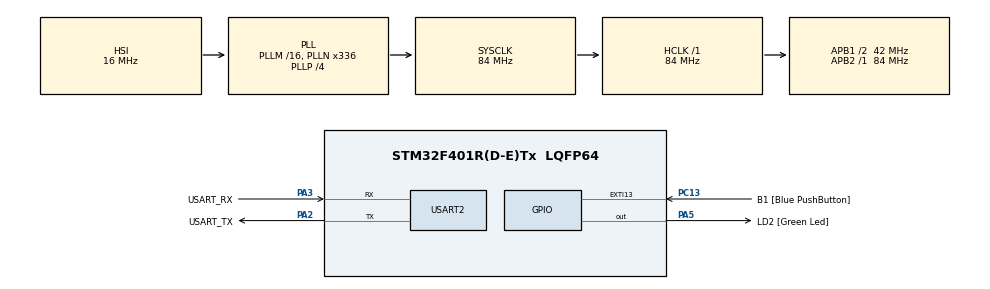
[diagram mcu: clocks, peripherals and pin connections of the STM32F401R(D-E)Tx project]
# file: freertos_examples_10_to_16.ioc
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FREERTOS.INCLUDE_vTaskDelayUntil=1
FREERTOS.MEMORY_ALLOCATION=0
FREERTOS.Tasks01=defaultTask,0,128,StartDefaultTask,Default,NULL,Dynamic,NULL,NULL
FREERTOS.configCHECK_FOR_STACK_OVERFLOW=1
FREERTOS.configGENERATE_RUN_TIME_STATS=1
FREERTOS.configUSE_COUNTING_SEMAPHORES=1
FREERTOS.configUSE_IDLE_HOOK=1
FREERTOS.configUSE_NEWLIB_REENTRANT=1
FREERTOS.configUSE_STATS_FORMATTING_FUNCTIONS=1
FREERTOS.configUSE_TICK_HOOK=1
FREERTOS.configUSE_TRACE_FACILITY=1
Mcu.Family=STM32F4
Mcu.Name=STM32F401R(D-E)Tx
Mcu.Package=LQFP64
NVIC.PriorityGroup=NVIC_PRIORITYGROUP_4
NVIC.TIM1_UP_TIM10_IRQn=true\:15\:0\:false\:false\:true\:false\:false\:true\:true
NVIC.TIM3_IRQn=true\:5\:0\:false\:false\:true\:true\:true\:true\:true
NVIC.TimeBase=TIM1_UP_TIM10_IRQn
NVIC.TimeBaseIP=TIM1
PA13.GPIO_Label=TMS
PA13.Mode=Serial_Wire
PA13.Signal=SYS_JTMS-SWDIO
PA14.GPIO_Label=TCK
PA14.Mode=Serial_Wire
PA14.Signal=SYS_JTCK-SWCLK
PA2.GPIO_Label=USART_TX
PA2.GPIO_Mode=GPIO_MODE_AF_PP
PA2.GPIO_PuPd=GPIO_NOPULL
PA2.GPIO_Speed=GPIO_SPEED_FREQ_LOW
PA2.Mode=Asynchronous
PA2.Signal=USART2_TX
PA3.GPIO_Label=USART_RX
PA3.GPIO_Mode=GPIO_MODE_AF_PP
PA3.GPIO_PuPd=GPIO_NOPULL
PA3.GPIO_Speed=GPIO_SPEED_FREQ_LOW
PA3.Mode=Asynchronous
PA3.Signal=USART2_RX
PA5.GPIO_Label=LD2 [Green Led]
PA5.GPIO_Mode=GPIO_MODE_OUTPUT_PP
PA5.GPIO_PuPd=GPIO_NOPULL
PA5.GPIO_Speed=GPIO_SPEED_FREQ_LOW
PA5.Signal=GPIO_Output
PB3.GPIO_Label=SWO
PB3.Signal=SYS_JTDO-SWO
PC13-ANTI_TAMP.GPIO_Label=B1 [Blue PushButton]
PC13-ANTI_TAMP.GPIO_ModeDefaultEXTI=GPIO_MODE_IT_FALLING
PC13-ANTI_TAMP.GPIO_PuPd=GPIO_NOPULL
PC13-ANTI_TAMP.Signal=GPXTI13
PC14-OSC32_IN.Mode=LSE-External-Oscillator
PC14-OSC32_IN.Signal=RCC_OSC32_IN
PC15-OSC32_OUT.Mode=LSE-External-Oscillator
PC15-OSC32_OUT.Signal=RCC_OSC32_OUT
PH0\ -\ OSC_IN.Mode=HSE-External-Clock-Source
PH0\ -\ OSC_IN.Signal=RCC_OSC_IN
PH1\ -\ OSC_OUT.Mode=HSE-External-Clock-Source
PH1\ -\ OSC_OUT.Signal=RCC_OSC_OUT
ProjectManager.HeapSize=0x200
ProjectManager.StackSize=0x400
ProjectManager.TargetToolchain=STM32CubeIDE
RCC.48MHZClocksFreq_Value=48000000
RCC.AHBFreq_Value=84000000
RCC.APB1CLKDivider=RCC_HCLK_DIV2
RCC.APB1Freq_Value=42000000
RCC.APB1TimFreq_Value=84000000
RCC.APB2Freq_Value=84000000
RCC.APB2TimFreq_Value=84000000
RCC.CortexFreq_Value=84000000
RCC.HCLKFreq_Value=84000000
RCC.HSE_VALUE=8000000
RCC.HSI_VALUE=16000000
RCC.PLLN=336
RCC.PLLP=RCC_PLLP_DIV4
RCC.PLLQ=7
RCC.SYSCLKFreq_VALUE=84000000
RCC.SYSCLKSource=RCC_SYSCLKSOURCE_PLLCLK
RCC.VCOOutputFreq_Value=336000000
TIM3.Period=84-1
TIM3.Prescaler=2-1
USART2.VirtualMode=VM_ASYNC
VP_FREERTOS_VS_CMSIS_V1.Mode=CMSIS_V1
VP_SYS_VS_tim1.Mode=TIM1
VP_TIM3_VS_ClockSourceINT.Mode=Internal
board=NUCLEO-F401RE

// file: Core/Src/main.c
/* USER CODE BEGIN Header */
/**
  ******************************************************************************
  * @file           : main.c
  * @brief          : Main program body
  ******************************************************************************
  * @attention
  *
  * Copyright (c) 2022 STMicroelectronics.
  * All rights reserved.
  *
  * This software is licensed under terms that can be found in the LICENSE file
  * in the root directory of this software component.
  * If no LICENSE file comes with this software, it is provided AS-IS.
  *
  ******************************************************************************
  */
/* USER CODE END Header */
#include "main.h"
#include "cmsis_os.h"

/* USER CODE BEGIN Includes */
/* Standard includes. */
#include <stdio.h>
#include <stdlib.h>

/* Demo includes. */
#include "supportingFunctions.h"

/* USER CODE END Includes */

 TIM_HandleTypeDef htim3;

UART_HandleTypeDef huart2;

osThreadId defaultTaskHandle;
/* USER CODE BEGIN PV */
osThreadId TaskStatsHandle;

/* USER CODE END PV */

void SystemClock_Config(void);
static void MX_GPIO_Init(void);
static void MX_USART2_UART_Init(void);
static void MX_TIM3_Init(void);
void StartDefaultTask(void const * argument);

/* USER CODE BEGIN PFP */
extern void vTaskStats(void const * argument);
extern volatile unsigned long ulHighFrequencyTimerTicks;
extern int main_(void);

/* USER CODE END PFP */

int main(void)
{

  /* MCU Configuration--------------------------------------------------------*/

  /* Reset of all peripherals, Initializes the Flash interface and the Systick. */
  HAL_Init();

  /* Configure the system clock */
  SystemClock_Config();

  /* Initialize all configured peripherals */
  MX_GPIO_Init();
  MX_USART2_UART_Init();
  MX_TIM3_Init();
  /* USER CODE BEGIN 2 */
  main_();

  /* USER CODE END 2 */

  /* Create the thread(s) */
  /* definition and creation of defaultTask */
  osThreadDef(defaultTask, StartDefaultTask, osPriorityNormal, 0, 128);
  defaultTaskHandle = osThreadCreate(osThread(defaultTask), NULL);

  /* USER CODE BEGIN RTOS_THREADS */
  /* add threads, ... */
    /* Start timer */
    HAL_TIM_Base_Start_IT(&htim3);

    /* definition and creation of TaskStats */
  	osThreadDef( TaskStats, vTaskStats, osPriorityAboveNormal, 0, 256 );
  	TaskStatsHandle = osThreadCreate( osThread(TaskStats), NULL );

  	/* Check the task was created successfully */
  	configASSERT( defaultTaskHandle != NULL );
  	configASSERT( TaskStatsHandle != NULL );

  /* USER CODE END RTOS_THREADS */

  /* Start scheduler */
  osKernelStart();

  /* We should never get here as control is now taken by the scheduler */
  /* Infinite loop */
  while (1)
  {

  }
}

void SystemClock_Config(void)
{
  RCC_OscInitTypeDef RCC_OscInitStruct = {0};
  RCC_ClkInitTypeDef RCC_ClkInitStruct = {0};

  /** Configure the main internal regulator output voltage
  */
  __HAL_RCC_PWR_CLK_ENABLE();
  __HAL_PWR_VOLTAGESCALING_CONFIG(PWR_REGULATOR_VOLTAGE_SCALE2);

  /** Initializes the RCC Oscillators according to the specified parameters
  * in the RCC_OscInitTypeDef structure.
  */
  RCC_OscInitStruct.OscillatorType = RCC_OSCILLATORTYPE_HSI;
  RCC_OscInitStruct.HSIState = RCC_HSI_ON;
  RCC_OscInitStruct.HSICalibrationValue = RCC_HSICALIBRATION_DEFAULT;
  RCC_OscInitStruct.PLL.PLLState = RCC_PLL_ON;
  RCC_OscInitStruct.PLL.PLLSource = RCC_PLLSOURCE_HSI;
  RCC_OscInitStruct.PLL.PLLM = 16;
  RCC_OscInitStruct.PLL.PLLN = 336;
  RCC_OscInitStruct.PLL.PLLP = RCC_PLLP_DIV4;
  RCC_OscInitStruct.PLL.PLLQ = 7;
  if (HAL_RCC_OscConfig(&RCC_OscInitStruct) != HAL_OK)
  {
    Error_Handler();
  }

  /** Initializes the CPU, AHB and APB buses clocks
  */
  RCC_ClkInitStruct.ClockType = RCC_CLOCKTYPE_HCLK|RCC_CLOCKTYPE_SYSCLK
                              |RCC_CLOCKTYPE_PCLK1|RCC_CLOCKTYPE_PCLK2;
  RCC_ClkInitStruct.SYSCLKSource = RCC_SYSCLKSOURCE_PLLCLK;
  RCC_ClkInitStruct.AHBCLKDivider = RCC_SYSCLK_DIV1;
  RCC_ClkInitStruct.APB1CLKDivider = RCC_HCLK_DIV2;
  RCC_ClkInitStruct.APB2CLKDivider = RCC_HCLK_DIV1;

  if (HAL_RCC_ClockConfig(&RCC_ClkInitStruct, FLASH_LATENCY_2) != HAL_OK)
  {
    Error_Handler();
  }
}

static void MX_TIM3_Init(void)
{

  TIM_ClockConfigTypeDef sClockSourceConfig = {0};
  TIM_MasterConfigTypeDef sMasterConfig = {0};

  htim3.Instance = TIM3;
  htim3.Init.Prescaler = 2-1;
  htim3.Init.CounterMode = TIM_COUNTERMODE_UP;
  htim3.Init.Period = 84-1;
  htim3.Init.ClockDivision = TIM_CLOCKDIVISION_DIV1;
  htim3.Init.AutoReloadPreload = TIM_AUTORELOAD_PRELOAD_DISABLE;
  if (HAL_TIM_Base_Init(&htim3) != HAL_OK)
  {
    Error_Handler();
  }
  sClockSourceConfig.ClockSource = TIM_CLOCKSOURCE_INTERNAL;
  if (HAL_TIM_ConfigClockSource(&htim3, &sClockSourceConfig) != HAL_OK)
  {
    Error_Handler();
  }
  sMasterConfig.MasterOutputTrigger = TIM_TRGO_RESET;
  sMasterConfig.MasterSlaveMode = TIM_MASTERSLAVEMODE_DISABLE;
  if (HAL_TIMEx_MasterConfigSynchronization(&htim3, &sMasterConfig) != HAL_OK)
  {
    Error_Handler();
  }

}

static void MX_USART2_UART_Init(void)
{

  huart2.Instance = USART2;
  huart2.Init.BaudRate = 115200;
  huart2.Init.WordLength = UART_WORDLENGTH_8B;
  huart2.Init.StopBits = UART_STOPBITS_1;
  huart2.Init.Parity = UART_PARITY_NONE;
  huart2.Init.Mode = UART_MODE_TX_RX;
  huart2.Init.HwFlowCtl = UART_HWCONTROL_NONE;
  huart2.Init.OverSampling = UART_OVERSAMPLING_16;
  if (HAL_UART_Init(&huart2) != HAL_OK)
  {
    Error_Handler();
  }

}

static void MX_GPIO_Init(void)
{
  GPIO_InitTypeDef GPIO_InitStruct = {0};

  /* GPIO Ports Clock Enable */
  __HAL_RCC_GPIOC_CLK_ENABLE();
  __HAL_RCC_GPIOH_CLK_ENABLE();
  __HAL_RCC_GPIOA_CLK_ENABLE();
  __HAL_RCC_GPIOB_CLK_ENABLE();

  /*Configure GPIO pin Output Level */
  HAL_GPIO_WritePin(LD2_GPIO_Port, LD2_Pin, GPIO_PIN_RESET);

  /*Configure GPIO pin : B1_Pin */
  GPIO_InitStruct.Pin = B1_Pin;
  GPIO_InitStruct.Mode = GPIO_MODE_IT_FALLING;
  GPIO_InitStruct.Pull = GPIO_NOPULL;
  HAL_GPIO_Init(B1_GPIO_Port, &GPIO_InitStruct);

  /*Configure GPIO pin : LD2_Pin */
  GPIO_InitStruct.Pin = LD2_Pin;
  GPIO_InitStruct.Mode = GPIO_MODE_OUTPUT_PP;
  GPIO_InitStruct.Pull = GPIO_NOPULL;
  GPIO_InitStruct.Speed = GPIO_SPEED_FREQ_LOW;
  HAL_GPIO_Init(LD2_GPIO_Port, &GPIO_InitStruct);

}

void StartDefaultTask(void const * argument)
{
  for(;;)
  {
    osDelay(1);
  }
}

void HAL_TIM_PeriodElapsedCallback(TIM_HandleTypeDef *htim)
{
  /* USER CODE BEGIN Callback 0 */
    if (htim->Instance == TIM3) {
    	ulHighFrequencyTimerTicks++;
	}
  /* USER CODE END Callback 0 */
  if (htim->Instance == TIM1) {
    HAL_IncTick();
  }
}

void Error_Handler(void)
{
  __disable_irq();
  while (1)
  {
  }
}

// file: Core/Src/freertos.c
/* USER CODE BEGIN Header */
/**
  ******************************************************************************
  * File Name          : freertos.c
  * Description        : Code for freertos applications
  ******************************************************************************
  * @attention
  *
  * Copyright (c) 2022 STMicroelectronics.
  * All rights reserved.
  *
  * This software is licensed under terms that can be found in the LICENSE file
  * in the root directory of this software component.
  * If no LICENSE file comes with this software, it is provided AS-IS.
  *
  ******************************************************************************
  */
/* USER CODE END Header */

#include "FreeRTOS.h"
#include "task.h"
#include "main.h"

/* Hook prototypes */
void configureTimerForRunTimeStats(void);
unsigned long getRunTimeCounterValue(void);
void vApplicationIdleHook(void);
void vApplicationTickHook(void);
void vApplicationStackOverflowHook(xTaskHandle xTask, signed char *pcTaskName);

/* USER CODE BEGIN 1 */
/* Functions needed when configGENERATE_RUN_TIME_STATS is on */
__weak void configureTimerForRunTimeStats(void)
{

}

__weak unsigned long getRunTimeCounterValue(void)
{
return 0;
}
/* USER CODE END 1 */

/* USER CODE BEGIN 2 */
__weak void vApplicationIdleHook( void )
{
   /* vApplicationIdleHook() will only be called if configUSE_IDLE_HOOK is set
   to 1 in FreeRTOSConfig.h. It will be called on each iteration of the idle
   task. It is essential that code added to this hook function never attempts
   to block in any way (for example, call xQueueReceive() with a block time
   specified, or call vTaskDelay()). If the application makes use of the
   vTaskDelete() API function (as this demo application does) then it is also
   important that vApplicationIdleHook() is permitted to return to its calling
   function, because it is the responsibility of the idle task to clean up
   memory allocated by the kernel to any task that has since been deleted. */
}
/* USER CODE END 2 */

/* USER CODE BEGIN 3 */
__weak void vApplicationTickHook( void )
{
   /* This function will be called by each tick interrupt if
   configUSE_TICK_HOOK is set to 1 in FreeRTOSConfig.h. User code can be
   added here, but the tick hook is called from an interrupt context, so
   code must not attempt to block, and only the interrupt safe FreeRTOS API
   functions can be used (those that end in FromISR()). */
}
/* USER CODE END 3 */

/* USER CODE BEGIN 4 */
__weak void vApplicationStackOverflowHook(xTaskHandle xTask, signed char *pcTaskName)
{
   /* Run time stack overflow checking is performed if
   configCHECK_FOR_STACK_OVERFLOW is defined to 1 or 2. This hook function is
   called if a stack overflow is detected. */
}
/* USER CODE END 4 */
